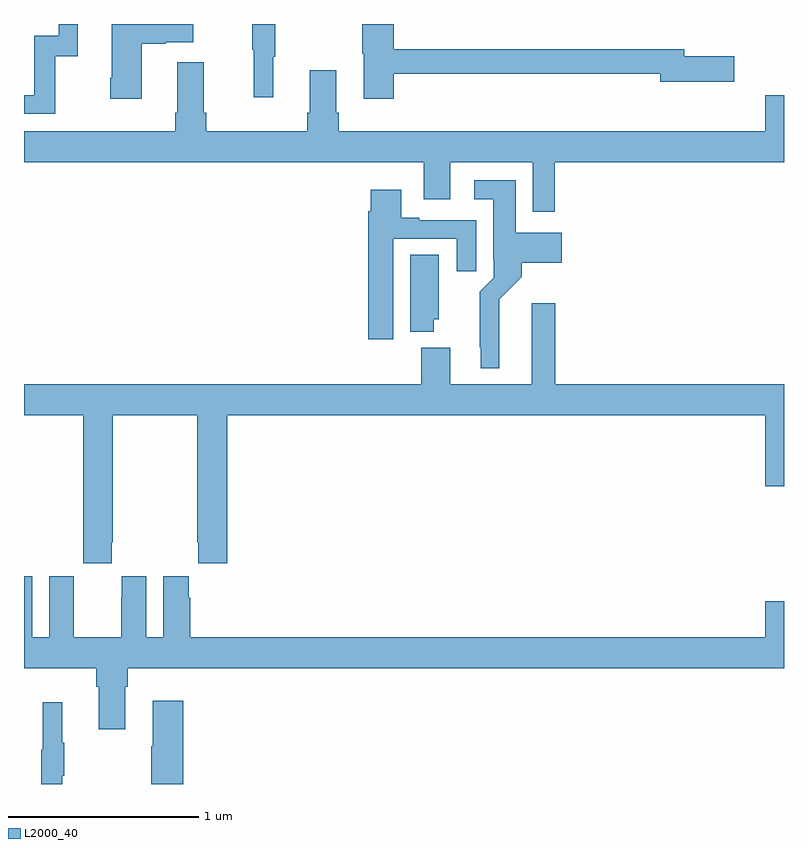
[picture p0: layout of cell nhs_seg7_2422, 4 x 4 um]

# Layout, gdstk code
import gdstk
lib = gdstk.Library(unit=1e-6, precision=1e-09)
def P(c, l, *ps):  # polygons
    for p in ps: c.add(gdstk.Polygon(p, *l))
L2000_40 = (2000, 40)

nhs_seg7_2422 = lib.new_cell('nhs_seg7_2422')
P(nhs_seg7_2422, L2000_40, [(269.164,1011.831),(269.282,1011.831),(269.282,1012),(269.184,1012),(269.184,1011.939),(269.055,1011.939),(269.055,1011.624),(269,1011.624),(269,1011.528),(269.164,1011.528)],
  [(270.947,1011.738),(272.348,1011.738),(272.348,1011.695),(272.737,1011.695),(272.737,1011.83),(272.476,1011.83),(272.476,1011.866),(270.947,1011.866),(270.947,1012),(270.781,1012),(270.781,1011.843),(270.788,1011.843),(270.788,1011.606),(270.947,1011.606)],
  [(270.311,1011.827),(270.322,1011.827),(270.322,1012),(270.201,1012),(270.201,1011.864),(270.208,1011.864),(270.208,1011.615),(270.311,1011.615)],
  [(269.62,1011.895),(269.747,1011.895),(269.747,1011.905),(269.89,1011.905),(269.89,1012),(269.462,1012),(269.462,1011.718),(269.455,1011.718),(269.455,1011.606),(269.62,1011.606)],
  [(271.793,1011.272),(273,1011.272),(273,1011.625),(272.9,1011.625),(272.9,1011.436),(270.656,1011.436),(270.656,1011.532),(270.643,1011.532),(270.643,1011.757),(270.503,1011.757),(270.503,1011.532),(270.491,1011.532),(270.491,1011.436),(269.96,1011.436),(269.96,1011.532),(269.947,1011.532),(269.947,1011.799),(269.807,1011.799),(269.807,1011.532),(269.795,1011.532),(269.795,1011.436),(269,1011.436),(269,1011.272),(271.103,1011.272),(271.103,1011.078),(271.243,1011.078),(271.243,1011.272),(271.677,1011.272),(271.677,1011.012),(271.793,1011.012)],
  [(271.501,1010.552),(271.619,1010.67),(271.619,1010.744),(271.831,1010.744),(271.831,1010.902),(271.588,1010.902),(271.588,1011.178),(271.371,1011.178),(271.371,1011.077),(271.469,1011.077),(271.469,1010.758),(271.473,1010.758),(271.473,1010.664),(271.399,1010.59),(271.399,1010.299),(271.403,1010.299),(271.403,1010.189),(271.501,1010.189)],
  [(270.943,1010.871),(271.277,1010.871),(271.277,1010.7),(271.381,1010.7),(271.381,1010.967),(271.081,1010.967),(271.081,1010.98),(270.985,1010.98),(270.985,1011.127),(270.824,1011.127),(270.824,1011.014),(270.812,1011.014),(270.812,1010.34),(270.943,1010.34)],
  [(271.156,1010.445),(271.183,1010.445),(271.183,1010.786),(271.034,1010.786),(271.034,1010.381),(271.156,1010.381)],
  [(269.463,1009.273),(269.466,1009.273),(269.466,1009.94),(269.911,1009.94),(269.911,1009.273),(269.917,1009.273),(269.917,1009.161),(270.071,1009.161),(270.071,1009.94),(272.9,1009.94),(272.9,1009.566),(273,1009.566),(273,1010.104),(271.796,1010.104),(271.796,1010.53),(271.673,1010.53),(271.673,1010.104),(271.243,1010.104),(271.243,1010.296),(271.091,1010.296),(271.091,1010.104),(269,1010.104),(269,1009.94),(269.311,1009.94),(269.311,1009.273),(269.313,1009.273),(269.313,1009.161),(269.463,1009.161)],
  [(269.533,1008.512),(269.546,1008.512),(269.546,1008.608),(273,1008.608),(273,1008.961),(272.9,1008.961),(272.9,1008.772),(269.876,1008.772),(269.876,1008.98),(269.866,1008.98),(269.866,1009.093),(269.732,1009.093),(269.732,1008.772),(269.644,1008.772),(269.644,1009.093),(269.514,1009.093),(269.514,1008.98),(269.513,1008.98),(269.513,1008.772),(269.263,1008.772),(269.263,1008.98),(269.262,1008.98),(269.262,1009.093),(269.132,1009.093),(269.132,1008.772),(269.044,1008.772),(269.044,1009.093),(269,1009.093),(269,1008.608),(269.381,1008.608),(269.381,1008.512),(269.393,1008.512),(269.393,1008.288),(269.533,1008.288)],
  [(269.837,1008.439),(269.678,1008.439),(269.678,1008.2),(269.671,1008.2),(269.671,1008),(269.837,1008)],
  [(269.201,1008.043),(269.212,1008.043),(269.212,1008.217),(269.201,1008.217),(269.201,1008.43),(269.098,1008.43),(269.098,1008.18),(269.091,1008.18),(269.091,1008),(269.201,1008)])

lib.write_gds('nhs_seg7_2422.gds')
